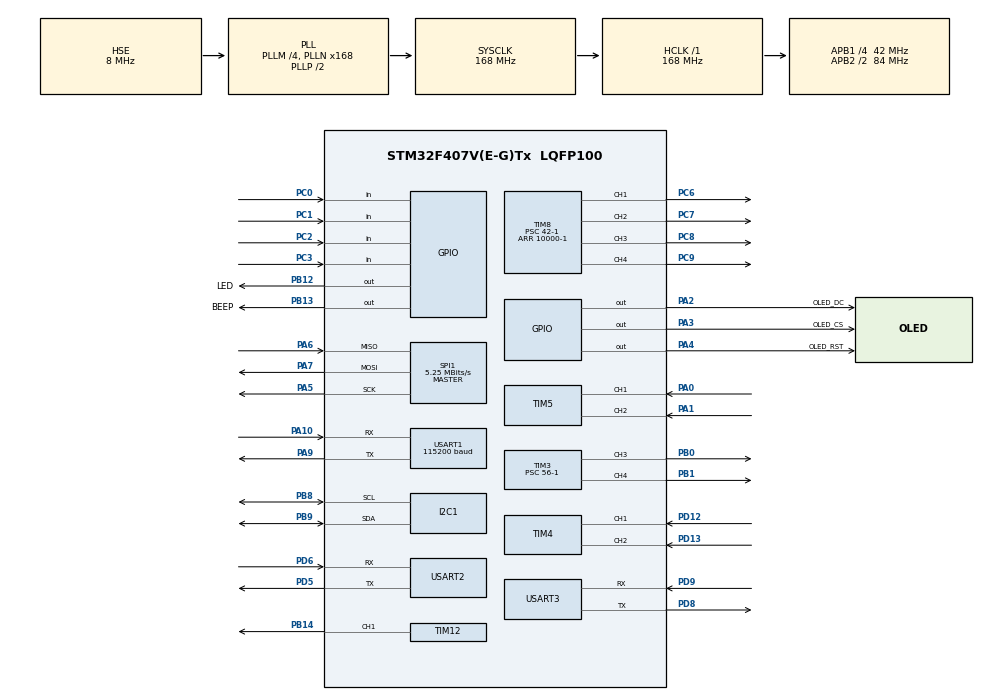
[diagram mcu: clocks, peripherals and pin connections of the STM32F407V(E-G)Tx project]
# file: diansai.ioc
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Dma.Request0=USART1_RX
Dma.Request1=USART1_TX
Dma.Request2=USART3_RX
Dma.USART1_RX.0.Direction=DMA_PERIPH_TO_MEMORY
Dma.USART1_RX.0.FIFOMode=DMA_FIFOMODE_DISABLE
Dma.USART1_RX.0.Instance=DMA2_Stream2
Dma.USART1_RX.0.MemDataAlignment=DMA_MDATAALIGN_BYTE
Dma.USART1_RX.0.MemInc=DMA_MINC_ENABLE
Dma.USART1_RX.0.Mode=DMA_NORMAL
Dma.USART1_RX.0.PeriphDataAlignment=DMA_PDATAALIGN_BYTE
Dma.USART1_RX.0.PeriphInc=DMA_PINC_DISABLE
Dma.USART1_RX.0.Priority=DMA_PRIORITY_LOW
Dma.USART1_TX.1.Direction=DMA_MEMORY_TO_PERIPH
Dma.USART1_TX.1.FIFOMode=DMA_FIFOMODE_DISABLE
Dma.USART1_TX.1.Instance=DMA2_Stream7
Dma.USART1_TX.1.MemDataAlignment=DMA_MDATAALIGN_BYTE
Dma.USART1_TX.1.MemInc=DMA_MINC_ENABLE
Dma.USART1_TX.1.Mode=DMA_NORMAL
Dma.USART1_TX.1.PeriphDataAlignment=DMA_PDATAALIGN_BYTE
Dma.USART1_TX.1.PeriphInc=DMA_PINC_DISABLE
Dma.USART1_TX.1.Priority=DMA_PRIORITY_LOW
Dma.USART3_RX.2.Direction=DMA_PERIPH_TO_MEMORY
Dma.USART3_RX.2.FIFOMode=DMA_FIFOMODE_DISABLE
Dma.USART3_RX.2.Instance=DMA1_Stream1
Dma.USART3_RX.2.MemDataAlignment=DMA_MDATAALIGN_BYTE
Dma.USART3_RX.2.MemInc=DMA_MINC_ENABLE
Dma.USART3_RX.2.Mode=DMA_NORMAL
Dma.USART3_RX.2.PeriphDataAlignment=DMA_PDATAALIGN_BYTE
Dma.USART3_RX.2.PeriphInc=DMA_PINC_DISABLE
Dma.USART3_RX.2.Priority=DMA_PRIORITY_LOW
FREERTOS.BinarySemaphores01=UartRecSem,Dynamic,NULL;CrossSem,Dynamic,NULL;ServoSem,Dynamic,NULL
FREERTOS.Tasks01=MotorTask,0,128,StartMotorTask,As weak,NULL,Dynamic,NULL,NULL;OledTask,0,128,StartOledTask,As weak,NULL,Dynamic,NULL,NULL;Uart1Task,1,128,StartUart1Task,As weak,NULL,Dynamic,NULL,NULL;mpu6050,0,128,Startmpu6050,As weak,NULL,Dynamic,NULL,NULL;ServoTask,1,128,StartServoTask,As weak,NULL,Dynamic,NULL,NULL;KeyTask,0,128,StartKeyTask,As weak,NULL,Dynamic,NULL,NULL;LedTask,0,128,StartLedTask,As weak,NULL,Dynamic,NULL,NULL
FREERTOS.configTICK_RATE_HZ=20
I2C1.I2C_Mode=I2C_Fast
Mcu.Family=STM32F4
Mcu.Name=STM32F407V(E-G)Tx
Mcu.Package=LQFP100
NVIC.DMA1_Stream1_IRQn=true\:5\:0\:false\:false\:true\:true\:false\:true
NVIC.DMA2_Stream2_IRQn=true\:5\:0\:false\:false\:true\:true\:true\:true
NVIC.DMA2_Stream7_IRQn=true\:5\:0\:false\:false\:true\:true\:false\:true
NVIC.PriorityGroup=NVIC_PRIORITYGROUP_4
NVIC.TIM1_UP_TIM10_IRQn=true\:15\:0\:false\:false\:true\:false\:false\:true
NVIC.TIM6_DAC_IRQn=true\:5\:0\:false\:false\:true\:true\:true\:true
NVIC.TimeBase=TIM1_UP_TIM10_IRQn
NVIC.TimeBaseIP=TIM1
NVIC.USART1_IRQn=true\:5\:0\:false\:false\:true\:true\:true\:true
NVIC.USART2_IRQn=true\:5\:0\:false\:false\:true\:true\:true\:true
NVIC.USART3_IRQn=true\:5\:0\:false\:false\:true\:true\:true\:true
PA0-WKUP.GPIO_PuPd=GPIO_PULLUP
PA0-WKUP.Signal=S_TIM5_CH1
PA1.GPIO_PuPd=GPIO_PULLUP
PA1.Signal=S_TIM5_CH2
PA10.GPIO_PuPd=GPIO_PULLUP
PA10.Mode=Asynchronous
PA10.Signal=USART1_RX
PA13.Mode=Serial_Wire
PA13.Signal=SYS_JTMS-SWDIO
PA14.Mode=Serial_Wire
PA14.Signal=SYS_JTCK-SWCLK
PA2.GPIO_Label=OLED_DC
PA2.GPIO_Speed=GPIO_SPEED_FREQ_HIGH
PA2.PinState=GPIO_PIN_SET
PA2.Signal=GPIO_Output
PA3.GPIO_Label=OLED_CS
PA3.GPIO_Speed=GPIO_SPEED_FREQ_HIGH
PA3.PinState=GPIO_PIN_SET
PA3.Signal=GPIO_Output
PA4.GPIO_Label=OLED_RST
PA4.GPIO_Speed=GPIO_SPEED_FREQ_HIGH
PA4.PinState=GPIO_PIN_SET
PA4.Signal=GPIO_Output
PA5.Mode=Full_Duplex_Master
PA5.Signal=SPI1_SCK
PA6.Mode=Full_Duplex_Master
PA6.Signal=SPI1_MISO
PA7.Mode=Full_Duplex_Master
PA7.Signal=SPI1_MOSI
PA9.Mode=Asynchronous
PA9.Signal=USART1_TX
PB0.Signal=S_TIM3_CH3
PB1.Signal=S_TIM3_CH4
PB12.GPIO_Label=LED
PB12.GPIO_PuPd=GPIO_PULLDOWN
PB12.Signal=GPIO_Output
PB13.GPIO_Label=BEEP
PB13.GPIO_PuPd=GPIO_PULLDOWN
PB13.Signal=GPIO_Output
PB14.Signal=S_TIM12_CH1
PB8.Mode=I2C
PB8.Signal=I2C1_SCL
PB9.Mode=I2C
PB9.Signal=I2C1_SDA
PC0.GPIO_Mode=GPIO_MODE_INPUT
PC0.GPIO_PuPd=GPIO_PULLUP
PC0.Signal=GPIO_Input
PC1.GPIO_Mode=GPIO_MODE_INPUT
PC1.GPIO_PuPd=GPIO_PULLUP
PC1.Signal=GPIO_Input
PC2.GPIO_Mode=GPIO_MODE_INPUT
PC2.GPIO_PuPd=GPIO_PULLUP
PC2.Signal=GPIO_Input
PC3.GPIO_Mode=GPIO_MODE_INPUT
PC3.GPIO_PuPd=GPIO_PULLUP
PC3.Signal=GPIO_Input
PC6.GPIO_PuPd=GPIO_PULLDOWN
PC6.Signal=S_TIM8_CH1
PC7.GPIO_PuPd=GPIO_PULLDOWN
PC7.Signal=S_TIM8_CH2
PC8.GPIO_PuPd=GPIO_PULLDOWN
PC8.Signal=S_TIM8_CH3
PC9.GPIO_PuPd=GPIO_PULLDOWN
PC9.Signal=S_TIM8_CH4
PD12.GPIO_PuPd=GPIO_PULLUP
PD12.Signal=S_TIM4_CH1
PD13.GPIO_PuPd=GPIO_PULLUP
PD13.Signal=S_TIM4_CH2
PD5.Mode=Asynchronous
PD5.Signal=USART2_TX
PD6.Mode=Asynchronous
PD6.Signal=USART2_RX
PD8.Mode=Asynchronous
PD8.Signal=USART3_TX
PD9.Mode=Asynchronous
PD9.Signal=USART3_RX
PH0-OSC_IN.Mode=HSE-External-Oscillator
PH0-OSC_IN.Signal=RCC_OSC_IN
PH1-OSC_OUT.Mode=HSE-External-Oscillator
PH1-OSC_OUT.Signal=RCC_OSC_OUT
ProjectManager.HeapSize=0x200
ProjectManager.StackSize=0x400
ProjectManager.TargetToolchain=MDK-ARM V5.27
RCC.48MHZClocksFreq_Value=84000000
RCC.AHBFreq_Value=168000000
RCC.APB1CLKDivider=RCC_HCLK_DIV4
RCC.APB1Freq_Value=42000000
RCC.APB1TimFreq_Value=84000000
RCC.APB2CLKDivider=RCC_HCLK_DIV2
RCC.APB2Freq_Value=84000000
RCC.APB2TimFreq_Value=168000000
RCC.CortexFreq_Value=168000000
RCC.HCLKFreq_Value=168000000
RCC.HSE_VALUE=8000000
RCC.HSI_VALUE=16000000
RCC.LSE_VALUE=32768
RCC.PLLM=4
RCC.PLLN=168
RCC.PLLSourceVirtual=RCC_PLLSOURCE_HSE
RCC.SYSCLKFreq_VALUE=168000000
RCC.SYSCLKSource=RCC_SYSCLKSOURCE_PLLCLK
RCC.VCOOutputFreq_Value=336000000
SH.S_TIM12_CH1.0=TIM12_CH1,PWM Generation1 CH1
SH.S_TIM3_CH3.0=TIM3_CH3,PWM Generation3 CH3
SH.S_TIM3_CH4.0=TIM3_CH4,PWM Generation4 CH4
SH.S_TIM4_CH1.0=TIM4_CH1,Encoder_Interface
SH.S_TIM4_CH2.0=TIM4_CH2,Encoder_Interface
SH.S_TIM5_CH1.0=TIM5_CH1,Encoder_Interface
SH.S_TIM5_CH2.0=TIM5_CH2,Encoder_Interface
SH.S_TIM8_CH1.0=TIM8_CH1,PWM Generation1 CH1
SH.S_TIM8_CH2.0=TIM8_CH2,PWM Generation2 CH2
SH.S_TIM8_CH3.0=TIM8_CH3,PWM Generation3 CH3
SH.S_TIM8_CH4.0=TIM8_CH4,PWM Generation4 CH4
SPI1.BaudRatePrescaler=SPI_BAUDRATEPRESCALER_16
SPI1.CalculateBaudRate=5.25 MBits/s
SPI1.Direction=SPI_DIRECTION_2LINES
SPI1.Mode=SPI_MODE_MASTER
SPI1.VirtualType=VM_MASTER
TIM12.Channel-PWM\ Generation1\ CH1=TIM_CHANNEL_1
TIM12.Period=1000-1
TIM12.Prescaler=168-1
TIM3.Channel-PWM\ Generation3\ CH3=TIM_CHANNEL_3
TIM3.Channel-PWM\ Generation4\ CH4=TIM_CHANNEL_4
TIM3.Period=30000-1
TIM3.Prescaler=56-1
TIM4.EncoderMode=TIM_ENCODERMODE_TI12
TIM5.EncoderMode=TIM_ENCODERMODE_TI12
TIM6.AutoReloadPreload=TIM_AUTORELOAD_PRELOAD_ENABLE
TIM6.Period=10000-1
TIM6.Prescaler=168-1
TIM8.Channel-PWM\ Generation1\ CH1=TIM_CHANNEL_1
TIM8.Channel-PWM\ Generation2\ CH2=TIM_CHANNEL_2
TIM8.Channel-PWM\ Generation3\ CH3=TIM_CHANNEL_3
TIM8.Channel-PWM\ Generation4\ CH4=TIM_CHANNEL_4
TIM8.Period=10000-1
TIM8.Prescaler=42-1
USART1.BaudRate=115200
USART1.VirtualMode=VM_ASYNC
USART2.VirtualMode=VM_ASYNC
USART3.VirtualMode=VM_ASYNC
VP_FREERTOS_VS_CMSIS_V1.Mode=CMSIS_V1
VP_SYS_VS_tim1.Mode=TIM1
VP_TIM12_VS_ClockSourceINT.Mode=Internal
VP_TIM3_VS_ClockSourceINT.Mode=Internal
VP_TIM6_VS_ClockSourceINT.Mode=Enable_Timer
VP_TIM8_VS_ClockSourceINT.Mode=Internal
board=custom

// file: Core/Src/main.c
/* USER CODE BEGIN Header */
/**
  ******************************************************************************
  * @file           : main.c
  * @brief          : Main program body
  ******************************************************************************
  * @attention
  *
  * Copyright (c) 2023 STMicroelectronics.
  * All rights reserved.
  *
  * This software is licensed under terms that can be found in the LICENSE file
  * in the root directory of this software component.
  * If no LICENSE file comes with this software, it is provided AS-IS.
  *
  ******************************************************************************
  */
/* USER CODE END Header */
#include "main.h"
#include "cmsis_os.h"
#include "dma.h"
#include "i2c.h"
#include "spi.h"
#include "tim.h"
#include "usart.h"
#include "gpio.h"

/* USER CODE BEGIN Includes */
#include "mpu6050.h"
#include "oled.h"
#include "pid.h"
#include "24l01.h"

//#include "mpu6050.h"
//#include "delay.h"
//#include "eMPL/inv_mpu.h"
//#include "eMPL/inv_mpu_dmp_motion_driver.h"

/* USER CODE END Includes */

void SystemClock_Config(void);
void MX_FREERTOS_Init(void);

int main(void)
{

  /* MCU Configuration--------------------------------------------------------*/

  /* Reset of all peripherals, Initializes the Flash interface and the Systick. */
  HAL_Init();

  /* Configure the system clock */
  SystemClock_Config();

  /* Initialize all configured peripherals */
  MX_GPIO_Init();
  MX_SPI1_Init();
  MX_TIM8_Init();
  MX_TIM4_Init();

  MX_I2C1_Init();
  MX_TIM5_Init();
  MX_DMA_Init();
  MX_TIM6_Init();
	MX_USART1_UART_Init();
  MX_USART2_UART_Init();
  MX_USART3_UART_Init();
  MX_TIM3_Init();
  MX_TIM12_Init();
  /* USER CODE BEGIN 2 */
	//MX_USART1_UART_Init MX_DMA_Init位置
//	HAL_TIM_PWM_Start(&htim8,TIM_CHANNEL_1);
//	HAL_TIM_PWM_Start(&htim8,TIM_CHANNEL_2);
//	HAL_TIM_PWM_Start(&htim8,TIM_CHANNEL_3);
//	HAL_TIM_PWM_Start(&htim8,TIM_CHANNEL_4);
	HAL_TIM_PWM_Start(&htim3,TIM_CHANNEL_3);
	HAL_TIM_PWM_Start(&htim3,TIM_CHANNEL_4);
	HAL_TIM_PWM_Start(&htim12,TIM_CHANNEL_1);
	TIM3->CCR3 = 2250;//1584下 增大逆时针 1450右90 3400左90度
	TIM3->CCR4 = 2250;//2688上 900-2400 增大逆时针-固定端靠近一侧的视角
	//HAL_GPIO_WritePin(LASER_GPIO_Port,LASER_Pin,GPIO_PIN_SET);
	TIM12->CCR1 = 220;
//	HAL_TIM_Encoder_Start(&htim5,TIM_CHANNEL_1 | TIM_CHANNEL_2);
//	HAL_TIM_Encoder_Start(&htim4,TIM_CHANNEL_1 | TIM_CHANNEL_2);
//	HAL_TIM_Base_Start_IT(&htim6);
	OLED_Init();
//	while (MPU6050_Init(&hi2c1) == 1){};

//	NRF24L01_Init();
//	while(NRF24L01_Check());
//	RX_Mode();

  /* USER CODE END 2 */

  /* Call init function for freertos objects (in freertos.c) */
  MX_FREERTOS_Init();
  /* Start scheduler */
  osKernelStart();

  /* We should never get here as control is now taken by the scheduler */
  /* Infinite loop */
  while (1)
  {

  }
}

void SystemClock_Config(void)
{
  RCC_OscInitTypeDef RCC_OscInitStruct = {0};
  RCC_ClkInitTypeDef RCC_ClkInitStruct = {0};

  /** Configure the main internal regulator output voltage
  */
  __HAL_RCC_PWR_CLK_ENABLE();
  __HAL_PWR_VOLTAGESCALING_CONFIG(PWR_REGULATOR_VOLTAGE_SCALE1);
  /** Initializes the RCC Oscillators according to the specified parameters
  * in the RCC_OscInitTypeDef structure.
  */
  RCC_OscInitStruct.OscillatorType = RCC_OSCILLATORTYPE_HSE;
  RCC_OscInitStruct.HSEState = RCC_HSE_ON;
  RCC_OscInitStruct.PLL.PLLState = RCC_PLL_ON;
  RCC_OscInitStruct.PLL.PLLSource = RCC_PLLSOURCE_HSE;
  RCC_OscInitStruct.PLL.PLLM = 4;
  RCC_OscInitStruct.PLL.PLLN = 168;
  RCC_OscInitStruct.PLL.PLLP = RCC_PLLP_DIV2;
  RCC_OscInitStruct.PLL.PLLQ = 4;
  if (HAL_RCC_OscConfig(&RCC_OscInitStruct) != HAL_OK)
  {
    Error_Handler();
  }
  /** Initializes the CPU, AHB and APB buses clocks
  */
  RCC_ClkInitStruct.ClockType = RCC_CLOCKTYPE_HCLK|RCC_CLOCKTYPE_SYSCLK
                              |RCC_CLOCKTYPE_PCLK1|RCC_CLOCKTYPE_PCLK2;
  RCC_ClkInitStruct.SYSCLKSource = RCC_SYSCLKSOURCE_PLLCLK;
  RCC_ClkInitStruct.AHBCLKDivider = RCC_SYSCLK_DIV1;
  RCC_ClkInitStruct.APB1CLKDivider = RCC_HCLK_DIV4;
  RCC_ClkInitStruct.APB2CLKDivider = RCC_HCLK_DIV2;

  if (HAL_RCC_ClockConfig(&RCC_ClkInitStruct, FLASH_LATENCY_5) != HAL_OK)
  {
    Error_Handler();
  }
}

void HAL_TIM_PeriodElapsedCallback(TIM_HandleTypeDef *htim)
{
  if (htim->Instance == TIM1) {
    HAL_IncTick();
  }
  /* USER CODE BEGIN Callback 1 */
//	if (htim->Instance == TIM6) {
//		PID_Loc(pid1,
//	}
  /* USER CODE END Callback 1 */
}

void Error_Handler(void)
{
  __disable_irq();
  while (1)
  {
  }
}

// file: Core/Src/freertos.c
/* USER CODE BEGIN Header */
/**
  ******************************************************************************
  * File Name          : freertos.c
  * Description        : Code for freertos applications
  ******************************************************************************
  * @attention
  *
  * Copyright (c) 2023 STMicroelectronics.
  * All rights reserved.
  *
  * This software is licensed under terms that can be found in the LICENSE file
  * in the root directory of this software component.
  * If no LICENSE file comes with this software, it is provided AS-IS.
  *
  ******************************************************************************
  */
/* USER CODE END Header */

#include "FreeRTOS.h"
#include "task.h"
#include "main.h"
#include "cmsis_os.h"

/* USER CODE BEGIN Includes */
#include "stdio.h"
#include "string.h"
#include "pid.h"
#include "usart.h"
#include "mpu6050.h"
#include "oled.h"
#include "motor.h"
#include "bsp_uart.h"
#include "encoder.h"
#include "mpu6050.h"
#include "key.h"
#include "control.h"
//#include "delay.h"
//#include "eMPL/inv_mpu.h"
//#include "eMPL/inv_mpu_dmp_motion_driver.h"

/* USER CODE END Includes */

/* USER CODE BEGIN Variables */

/*Structrue*/
Motor_t motor;
Encoder_t encoder;
MPU6050_t MPU6050;

pid_t pid_SERVOX;
pid_t pid_SERVOY;
pid_t pid_Y;
pid_t pid_X;
Servo_t servo;
Point_t pos,LU,LD,RU,RD;

/*flag*/
uint8_t cross_flag = 0;
uint8_t cross_state = 0;
uint8_t cross_num = 0;
uint8_t delay_flag = 0;
uint8_t rec_flag = 0;
uint8_t rec_ok_flag = 0;
uint8_t beep_flag = 1;
uint8_t task = 0;
uint8_t pause_flag = 0;
/*control*/
int Encoder_All_L = 0;
int Encoder_All_R = 0;
int dir_error = 0;
float angle = 0;
float servo_hori_error = 0;
float servo_vert_error = 0;

float servo_hori_all = 2250;
float servo_vert_all = 2250;
/*point*/

/*uart*/
uint8_t rx_len = 0;
uint8_t RxBuffer[255];

/* USER CODE END Variables */
osThreadId MotorTaskHandle;
osThreadId OledTaskHandle;
osThreadId Uart1TaskHandle;
osThreadId mpu6050Handle;
osThreadId ServoTaskHandle;
osThreadId KeyTaskHandle;
osThreadId LedTaskHandle;
osSemaphoreId UartRecSemHandle;
osSemaphoreId CrossSemHandle;
osSemaphoreId ServoSemHandle;

void StartMotorTask(void const * argument);
void StartOledTask(void const * argument);
void StartUart1Task(void const * argument);
void Startmpu6050(void const * argument);
void StartServoTask(void const * argument);
void StartKeyTask(void const * argument);
void StartLedTask(void const * argument);

void MX_FREERTOS_Init(void); /* (MISRA C 2004 rule 8.1) */

/* GetIdleTaskMemory prototype (linked to static allocation support) */
void vApplicationGetIdleTaskMemory( StaticTask_t **ppxIdleTaskTCBBuffer, StackType_t **ppxIdleTaskStackBuffer, uint32_t *pulIdleTaskStackSize );

/* USER CODE BEGIN GET_IDLE_TASK_MEMORY */
static StaticTask_t xIdleTaskTCBBuffer;
static StackType_t xIdleStack[configMINIMAL_STACK_SIZE];

void vApplicationGetIdleTaskMemory( StaticTask_t **ppxIdleTaskTCBBuffer, StackType_t **ppxIdleTaskStackBuffer, uint32_t *pulIdleTaskStackSize )
{
  *ppxIdleTaskTCBBuffer = &xIdleTaskTCBBuffer;
  *ppxIdleTaskStackBuffer = &xIdleStack[0];
  *pulIdleTaskStackSize = configMINIMAL_STACK_SIZE;
  /* place for user code */
}
/* USER CODE END GET_IDLE_TASK_MEMORY */

void MX_FREERTOS_Init(void) {
  /* USER CODE BEGIN Init */
	PID_SERVOX_Init(&pid_SERVOX);
	PID_SERVOY_Init(&pid_SERVOY);
	PID_SERVO_POINT_Init(&pid_X);
	PID_SERVO_POINT_Init(&pid_Y);
	MotorInit(&motor);
	Encoder_Init(&encoder);
  /* USER CODE END Init */

  /* Create the semaphores(s) */
  /* definition and creation of UartRecSem */
  osSemaphoreDef(UartRecSem);
  UartRecSemHandle = osSemaphoreCreate(osSemaphore(UartRecSem), 1);

  /* definition and creation of CrossSem */
  osSemaphoreDef(CrossSem);
  CrossSemHandle = osSemaphoreCreate(osSemaphore(CrossSem), 1);

  /* definition and creation of ServoSem */
  osSemaphoreDef(ServoSem);
  ServoSemHandle = osSemaphoreCreate(osSemaphore(ServoSem), 1);

  /* USER CODE BEGIN RTOS_SEMAPHORES */
  /* add semaphores, ... */
	//osSemaphoreWait(UartRecSemHandle,100);
	osSemaphoreWait(UartRecSemHandle,100);
  /* USER CODE END RTOS_SEMAPHORES */

  /* Create the thread(s) */
  /* definition and creation of MotorTask */
  osThreadDef(MotorTask, StartMotorTask, osPriorityNormal, 0, 128);
  MotorTaskHandle = osThreadCreate(osThread(MotorTask), NULL);

  /* definition and creation of OledTask */
  osThreadDef(OledTask, StartOledTask, osPriorityNormal, 0, 128);
  OledTaskHandle = osThreadCreate(osThread(OledTask), NULL);

  /* definition and creation of Uart1Task */
  osThreadDef(Uart1Task, StartUart1Task, osPriorityAboveNormal, 0, 128);
  Uart1TaskHandle = osThreadCreate(osThread(Uart1Task), NULL);

  /* definition and creation of mpu6050 */
  osThreadDef(mpu6050, Startmpu6050, osPriorityNormal, 0, 128);
  mpu6050Handle = osThreadCreate(osThread(mpu6050), NULL);

  /* definition and creation of ServoTask */
  osThreadDef(ServoTask, StartServoTask, osPriorityAboveNormal, 0, 128);
  ServoTaskHandle = osThreadCreate(osThread(ServoTask), NULL);

  /* definition and creation of KeyTask */
  osThreadDef(KeyTask, StartKeyTask, osPriorityNormal, 0, 128);
  KeyTaskHandle = osThreadCreate(osThread(KeyTask), NULL);

  /* definition and creation of LedTask */
  osThreadDef(LedTask, StartLedTask, osPriorityNormal, 0, 128);
  LedTaskHandle = osThreadCreate(osThread(LedTask), NULL);

}

__weak void StartMotorTask(void const * argument)
{
  /* USER CODE BEGIN StartMotorTask */

  /* Infinite loop */
  for(;;)
  {
//		Encoder_All_L += encoder.Left;
//		Encoder_All_R += encoder.Right;
//		EncoderGet(&encoder);
////			UART_SendToAnon(encoder.Left);

//			MotorCtrl((int)v1,(int)v2);

    osDelay(1000);
  }
  /* USER CODE END StartMotorTask */
}

__weak void StartOledTask(void const * argument)
{
  /* USER CODE BEGIN StartOledTask */
	char txt[30];

  /* Infinite loop */
  for(;;)
  {
		//taskENTER_CRITICAL();
		sprintf(txt,"pause:%d",pause_flag);
		OLED_ShowString(0,0,txt);

    osDelay(1000);

  }
  /* USER CODE END StartOledTask */
}

__weak void StartUart1Task(void const * argument)
{
  /* USER CODE BEGIN StartUart1Task */

	//注意初始化更改位置
	char txt[40];
	__HAL_UART_ENABLE_IT(&huart3,UART_IT_IDLE);
	HAL_UART_Receive_DMA(&huart3,(uint8_t *)RxBuffer,255);

  /* Infinite loop */
  for(;;)
  {
		osSemaphoreWait(UartRecSemHandle,portMAX_DELAY);
		//taskENTER_CRITICAL();
//		HAL_UART_Transmit(&huart1,RxBuffer,rx_len,100);

//		OLED_ShowString(0,6,RxBuffer);
		if(RxBuffer[0]==0x12)
		{
			OLED_ShowString(0,0,"ok");
			SERVOY = RxBuffer[1]<<8|RxBuffer[2];
		}
		if(RxBuffer[0]==0x13)
		{
			OLED_ShowString(0,0,"ok");
			SERVOX = RxBuffer[1]<<8|RxBuffer[2];
		}

		if(RxBuffer[0]==0xA1 && RxBuffer[rx_len-1]==0x1A)
		{

			if(RxBuffer[1] == 0x02)
			{
				if(RxBuffer[2] == 1)
					servo_hori_error = -RxBuffer[3];
				else
					servo_hori_error = RxBuffer[3];
				if(RxBuffer[4] == 1)
					servo_vert_error = -RxBuffer[5];
				else
					servo_vert_error = RxBuffer[5];
				if(abs(servo_hori_error)<3)
					servo_hori_error =0;
				if(abs(servo_vert_error)<3)
					servo_vert_error =0;
				if(abs(servo_hori_error)<5 && abs(servo_vert_error)<5)
					rec_ok_flag = 1;
//				rec_flag = 1;
//				sprintf(txt,"%f",servo_hori_error);
//				OLED_ShowString(0,4,txt);
//				sprintf(txt,"%f",servo_vert_error);
//				OLED_ShowString(0,6,txt);
				osSemaphoreRelease(ServoSemHandle);
			}

		}

    osDelay(1);
  }
  /* USER CODE END StartUart1Task */
}

__weak void Startmpu6050(void const * argument)
{
  /* USER CODE BEGIN Startmpu6050 */
	char txt[10];
//	while(MPU_Init());
//	while(mpu_dmp_init());
  /* Infinite loop */
  for(;;)
  {

//		MPU6050_Read_All(&hi2c1, &MPU6050);
//		if(MPU6050.Gz<0.5&&MPU6050.Gz>-0.5)
//			MPU6050.Gz = 0;
//		yaw += MPU6050.Gz/7000*360;

    osDelay(10);
  }
  /* USER CODE END Startmpu6050 */
}

__weak void StartServoTask(void const * argument)
{
  /* USER CODE BEGIN StartServoTask */
	static int servo_val = 500;
	static double i = 0;
	static int j;
	char txt[20];
  /* Infinite loop */
  for(;;)
  {
		osSemaphoreWait(ServoSemHandle,portMAX_DELAY);
//		if(rec_flag==1)
//		{
//			rec_flag = 0;
//
			if(!pause_flag)
			{
				servo_hori_all += PID_SERVO(&pid_SERVOX,-servo_hori_error);
				servo_vert_all += PID_SERVO(&pid_SERVOY,-servo_vert_error);
				SERVOX = (uint16_t)servo_hori_all;
				SERVOY = (uint16_t)servo_vert_all;
			}
//		}
//

		osDelay(1);

  }
  /* USER CODE END StartServoTask */
}

__weak void StartKeyTask(void const * argument)
{
  /* USER CODE BEGIN StartKeyTask */
	static uint8_t servo_flag = 0;
  /* Infinite loop */
  for(;;)
  {
		switch(Key_Scan())
		{
			case 1:
				HAL_UART_Transmit(&huart3,"1",1,100);
				break;
//				laser_flag ^= 1;
//				if(laser_flag)
//					HAL_GPIO_WritePin(LASER_GPIO_Port,LASER_Pin,GPIO_PIN_SET);
//				else
//					HAL_GPIO_WritePin(LASER_GPIO_Port,LASER_Pin,GPIO_PIN_RESET);
//				break;
			case 2:
				pause_flag ^= 1;
				break;
			case 4:
				servo_flag^=1;
				if(servo_flag)
				{
					SERVOX = 2500;
					servo_hori_all = 2500;
				}
				else
				{
					SERVOX = 1800;
					servo_hori_all = 1800;
				}
				break;
			case 3:
				beep_flag^=1;
				break;

			default:break;
		}
    osDelay(1);
  }
  /* USER CODE END StartKeyTask */
}

__weak void StartLedTask(void const * argument)
{
  /* USER CODE BEGIN StartLedTask */
	static uint8_t flag = 1;

  /* Infinite loop */
  for(;;)
  {
		if(beep_flag == 1)
		{
		if(rec_ok_flag == 1)
		{
//			flag = 0;
			HAL_GPIO_WritePin(BEEP_GPIO_Port,BEEP_Pin,GPIO_PIN_SET);
			HAL_GPIO_WritePin(LED_GPIO_Port,LED_Pin,GPIO_PIN_SET);
//			osDelay(1000);
//			HAL_GPIO_WritePin(BEEP_GPIO_Port,BEEP_Pin,GPIO_PIN_RESET);
//			HAL_GPIO_WritePin(LED_GPIO_Port,LED_Pin,GPIO_PIN_RESET);
//			rec_ok_flag = 0;

		}
	}
		else
		{
			HAL_GPIO_WritePin(BEEP_GPIO_Port,BEEP_Pin,GPIO_PIN_RESET);
			HAL_GPIO_WritePin(LED_GPIO_Port,LED_Pin,GPIO_PIN_RESET);
		}

//		if(flag)
//		{
//			HAL_GPIO_WritePin(BEEP_GPIO_Port,BEEP_Pin,GPIO_PIN_SET);
//			HAL_GPIO_WritePin(LED_GPIO_Port,LED_Pin,GPIO_PIN_RESET);
//		}
//		else
//		{
//			HAL_GPIO_WritePin(LED_GPIO_Port,LED_Pin,GPIO_PIN_SET);
//			HAL_GPIO_WritePin(BEEP_GPIO_Port,BEEP_Pin,GPIO_PIN_RESET);
//		}
    osDelay(1000);
  }
  /* USER CODE END StartLedTask */
}
